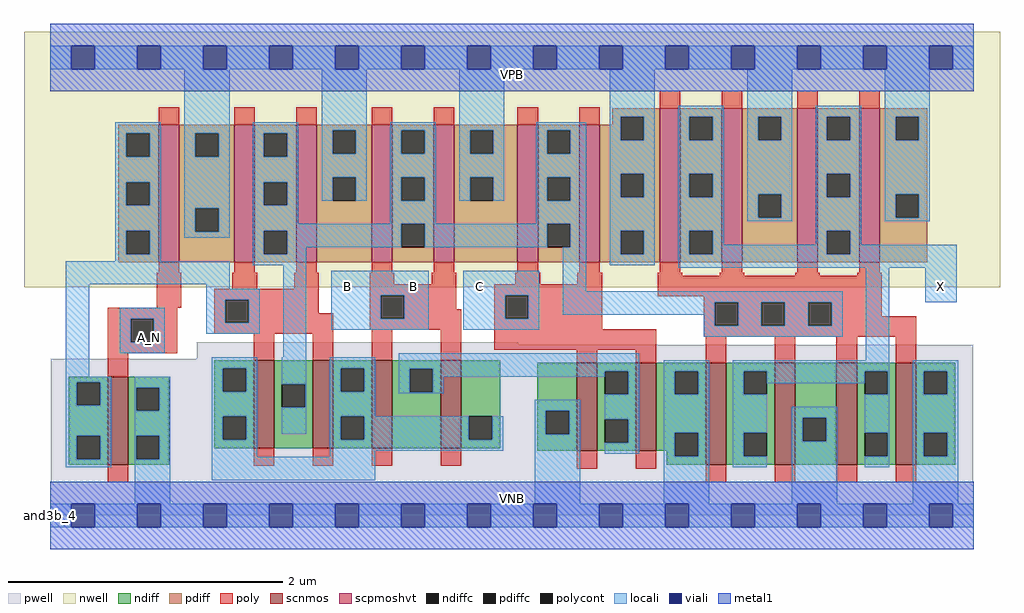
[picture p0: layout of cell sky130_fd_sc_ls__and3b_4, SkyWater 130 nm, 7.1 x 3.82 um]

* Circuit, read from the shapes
.subckt sky130_fd_sc_ls__and3b_4 A_N B C VGND VNB VPB VPWR X
XM1 VGND A_N n1 VNB sky130_fd_pr__nfet_01v8 w=0.64 l=0.15
XM2 n2 n1 n3 VNB sky130_fd_pr__nfet_01v8 w=0.64 l=0.15 m=2
XM3 n4 B n3 VNB sky130_fd_pr__nfet_01v8 w=0.64 l=0.15 m=2
XM4 n4 C VGND VNB sky130_fd_pr__nfet_01v8 w=0.64 l=0.15 m=2
XM5 X n2 VGND VNB sky130_fd_pr__nfet_01v8 w=0.74 l=0.15 m=4
XM6 VPWR A_N n1 VPB sky130_fd_pr__pfet_01v8_hvt w=1 l=0.15
XM7 n2 n1 VPWR VPB sky130_fd_pr__pfet_01v8_hvt w=1 l=0.15 m=2
XM8 n2 B VPWR VPB sky130_fd_pr__pfet_01v8_hvt w=1 l=0.15 m=2
XM9 n2 C VPWR VPB sky130_fd_pr__pfet_01v8_hvt w=1 l=0.15 m=2
XM10 X n2 VPWR VPB sky130_fd_pr__pfet_01v8_hvt w=1.12 l=0.15 m=4
.ends

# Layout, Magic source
magic
tech sky130A
magscale 1 2
<< nwell >>
rect -38 332 1382 704
<< pwell >>
rect 213 248 681 252
rect 213 228 1343 248
rect 1 49 1343 228
rect 0 0 1344 49
<< scnmos >>
rect 84 74 114 202
rect 296 98 326 226
rect 382 98 412 226
rect 468 98 498 226
rect 568 98 598 226
rect 766 94 796 222
rect 852 94 882 222
rect 954 74 984 222
rect 1054 74 1084 222
rect 1144 74 1174 222
rect 1230 74 1260 222
<< scpmoshvt >>
rect 158 368 188 568
rect 268 368 298 568
rect 358 368 388 568
rect 468 368 498 568
rect 558 368 588 568
rect 680 368 710 568
rect 770 368 800 568
rect 887 368 917 592
rect 977 368 1007 592
rect 1087 368 1117 592
rect 1177 368 1207 592
<< ndiff >>
rect 239 214 296 226
rect 27 194 84 202
rect 27 160 39 194
rect 73 160 84 194
rect 27 116 84 160
rect 27 82 39 116
rect 73 82 84 116
rect 27 74 84 82
rect 114 186 173 202
rect 114 152 125 186
rect 159 152 173 186
rect 114 116 173 152
rect 114 82 125 116
rect 159 82 173 116
rect 239 180 251 214
rect 285 180 296 214
rect 239 144 296 180
rect 239 110 251 144
rect 285 110 296 144
rect 239 98 296 110
rect 326 191 382 226
rect 326 157 337 191
rect 371 157 382 191
rect 326 98 382 157
rect 412 214 468 226
rect 412 180 423 214
rect 457 180 468 214
rect 412 144 468 180
rect 412 110 423 144
rect 457 110 468 144
rect 412 98 468 110
rect 498 213 568 226
rect 498 179 523 213
rect 557 179 568 213
rect 498 98 568 179
rect 598 144 655 226
rect 598 110 609 144
rect 643 110 655 144
rect 598 98 655 110
rect 709 152 766 222
rect 709 118 721 152
rect 755 118 766 152
rect 114 74 173 82
rect 709 94 766 118
rect 796 210 852 222
rect 796 176 807 210
rect 841 176 852 210
rect 796 140 852 176
rect 796 106 807 140
rect 841 106 852 140
rect 796 94 852 106
rect 882 210 954 222
rect 882 176 909 210
rect 943 176 954 210
rect 882 120 954 176
rect 882 94 909 120
rect 897 86 909 94
rect 943 86 954 120
rect 897 74 954 86
rect 984 210 1054 222
rect 984 176 1009 210
rect 1043 176 1054 210
rect 984 120 1054 176
rect 984 86 1009 120
rect 1043 86 1054 120
rect 984 74 1054 86
rect 1084 142 1144 222
rect 1084 108 1095 142
rect 1129 108 1144 142
rect 1084 74 1144 108
rect 1174 210 1230 222
rect 1174 176 1185 210
rect 1219 176 1230 210
rect 1174 120 1230 176
rect 1174 86 1185 120
rect 1219 86 1230 120
rect 1174 74 1230 86
rect 1260 210 1317 222
rect 1260 176 1271 210
rect 1305 176 1317 210
rect 1260 120 1317 176
rect 1260 86 1271 120
rect 1305 86 1317 120
rect 1260 74 1317 86
<< pdiff >>
rect 818 580 887 592
rect 818 568 830 580
rect 99 556 158 568
rect 99 522 111 556
rect 145 522 158 556
rect 99 485 158 522
rect 99 451 111 485
rect 145 451 158 485
rect 99 414 158 451
rect 99 380 111 414
rect 145 380 158 414
rect 99 368 158 380
rect 188 556 268 568
rect 188 522 211 556
rect 245 522 268 556
rect 188 447 268 522
rect 188 413 211 447
rect 245 413 268 447
rect 188 368 268 413
rect 298 556 358 568
rect 298 522 311 556
rect 345 522 358 556
rect 298 485 358 522
rect 298 451 311 485
rect 345 451 358 485
rect 298 414 358 451
rect 298 380 311 414
rect 345 380 358 414
rect 298 368 358 380
rect 388 560 468 568
rect 388 526 411 560
rect 445 526 468 560
rect 388 492 468 526
rect 388 458 411 492
rect 445 458 468 492
rect 388 368 468 458
rect 498 560 558 568
rect 498 526 511 560
rect 545 526 558 560
rect 498 492 558 526
rect 498 458 511 492
rect 545 458 558 492
rect 498 424 558 458
rect 498 390 511 424
rect 545 390 558 424
rect 498 368 558 390
rect 588 560 680 568
rect 588 526 611 560
rect 645 526 680 560
rect 588 492 680 526
rect 588 458 611 492
rect 645 458 680 492
rect 588 368 680 458
rect 710 560 770 568
rect 710 526 723 560
rect 757 526 770 560
rect 710 492 770 526
rect 710 458 723 492
rect 757 458 770 492
rect 710 424 770 458
rect 710 390 723 424
rect 757 390 770 424
rect 710 368 770 390
rect 800 546 830 568
rect 864 546 887 580
rect 800 497 887 546
rect 800 463 830 497
rect 864 463 887 497
rect 800 414 887 463
rect 800 380 830 414
rect 864 380 887 414
rect 800 368 887 380
rect 917 580 977 592
rect 917 546 930 580
rect 964 546 977 580
rect 917 497 977 546
rect 917 463 930 497
rect 964 463 977 497
rect 917 414 977 463
rect 917 380 930 414
rect 964 380 977 414
rect 917 368 977 380
rect 1007 580 1087 592
rect 1007 546 1030 580
rect 1064 546 1087 580
rect 1007 467 1087 546
rect 1007 433 1030 467
rect 1064 433 1087 467
rect 1007 368 1087 433
rect 1117 580 1177 592
rect 1117 546 1130 580
rect 1164 546 1177 580
rect 1117 497 1177 546
rect 1117 463 1130 497
rect 1164 463 1177 497
rect 1117 414 1177 463
rect 1117 380 1130 414
rect 1164 380 1177 414
rect 1117 368 1177 380
rect 1207 580 1276 592
rect 1207 546 1230 580
rect 1264 546 1276 580
rect 1207 467 1276 546
rect 1207 433 1230 467
rect 1264 433 1276 467
rect 1207 368 1276 433
<< ndiffc >>
rect 39 160 73 194
rect 39 82 73 116
rect 125 152 159 186
rect 125 82 159 116
rect 251 180 285 214
rect 251 110 285 144
rect 337 157 371 191
rect 423 180 457 214
rect 423 110 457 144
rect 523 179 557 213
rect 609 110 643 144
rect 721 118 755 152
rect 807 176 841 210
rect 807 106 841 140
rect 909 176 943 210
rect 909 86 943 120
rect 1009 176 1043 210
rect 1009 86 1043 120
rect 1095 108 1129 142
rect 1185 176 1219 210
rect 1185 86 1219 120
rect 1271 176 1305 210
rect 1271 86 1305 120
<< pdiffc >>
rect 111 522 145 556
rect 111 451 145 485
rect 111 380 145 414
rect 211 522 245 556
rect 211 413 245 447
rect 311 522 345 556
rect 311 451 345 485
rect 311 380 345 414
rect 411 526 445 560
rect 411 458 445 492
rect 511 526 545 560
rect 511 458 545 492
rect 511 390 545 424
rect 611 526 645 560
rect 611 458 645 492
rect 723 526 757 560
rect 723 458 757 492
rect 723 390 757 424
rect 830 546 864 580
rect 830 463 864 497
rect 830 380 864 414
rect 930 546 964 580
rect 930 463 964 497
rect 930 380 964 414
rect 1030 546 1064 580
rect 1030 433 1064 467
rect 1130 546 1164 580
rect 1130 463 1164 497
rect 1130 380 1164 414
rect 1230 546 1264 580
rect 1230 433 1264 467
<< poly >>
rect 158 568 188 594
rect 268 568 298 594
rect 358 568 388 594
rect 468 568 498 594
rect 558 568 588 594
rect 680 568 710 594
rect 770 568 800 594
rect 887 592 917 618
rect 977 592 1007 618
rect 1087 592 1117 618
rect 1177 592 1207 618
rect 158 353 188 368
rect 268 353 298 368
rect 358 353 388 368
rect 468 353 498 368
rect 558 353 588 368
rect 680 353 710 368
rect 770 353 800 368
rect 887 353 917 368
rect 977 353 1007 368
rect 1087 353 1117 368
rect 1177 353 1207 368
rect 155 302 191 353
rect 265 330 301 353
rect 355 330 391 353
rect 239 314 391 330
rect 84 286 185 302
rect 84 252 117 286
rect 151 252 185 286
rect 239 280 255 314
rect 289 294 391 314
rect 465 336 501 353
rect 555 336 591 353
rect 677 336 713 353
rect 767 336 803 353
rect 465 320 591 336
rect 289 280 412 294
rect 239 264 412 280
rect 465 286 481 320
rect 515 300 591 320
rect 646 320 803 336
rect 515 286 598 300
rect 465 270 598 286
rect 84 236 185 252
rect 84 202 114 236
rect 296 226 326 264
rect 382 226 412 264
rect 468 226 498 270
rect 568 226 598 270
rect 646 286 662 320
rect 696 286 803 320
rect 884 349 920 353
rect 974 349 1010 353
rect 1084 349 1120 353
rect 1174 349 1210 353
rect 884 319 1210 349
rect 646 271 803 286
rect 951 310 1210 319
rect 951 276 967 310
rect 1001 276 1035 310
rect 1069 276 1103 310
rect 1137 290 1210 310
rect 1137 276 1260 290
rect 646 241 882 271
rect 951 260 1260 276
rect 766 222 796 241
rect 852 222 882 241
rect 954 222 984 260
rect 1054 222 1084 260
rect 1144 222 1174 260
rect 1230 222 1260 260
rect 84 48 114 74
rect 296 72 326 98
rect 382 72 412 98
rect 468 72 498 98
rect 568 72 598 98
rect 766 68 796 94
rect 852 68 882 94
rect 954 48 984 74
rect 1054 48 1084 74
rect 1144 48 1174 74
rect 1230 48 1260 74
<< polycont >>
rect 117 252 151 286
rect 255 280 289 314
rect 481 286 515 320
rect 662 286 696 320
rect 967 276 1001 310
rect 1035 276 1069 310
rect 1103 276 1137 310
<< locali >>
rect 0 649 31 683
rect 65 649 127 683
rect 161 649 223 683
rect 257 649 319 683
rect 353 649 415 683
rect 449 649 511 683
rect 545 649 607 683
rect 641 649 703 683
rect 737 649 799 683
rect 833 649 895 683
rect 929 649 991 683
rect 1025 649 1087 683
rect 1121 649 1183 683
rect 1217 649 1279 683
rect 1313 649 1344 683
rect 95 556 161 572
rect 95 522 111 556
rect 145 522 161 556
rect 95 485 161 522
rect 95 451 111 485
rect 145 451 161 485
rect 95 414 161 451
rect 95 380 111 414
rect 145 380 161 414
rect 195 556 261 649
rect 195 522 211 556
rect 245 522 261 556
rect 195 447 261 522
rect 195 413 211 447
rect 245 413 261 447
rect 195 404 261 413
rect 295 556 361 572
rect 295 522 311 556
rect 345 522 361 556
rect 295 485 361 522
rect 295 451 311 485
rect 345 451 361 485
rect 395 560 461 649
rect 395 526 411 560
rect 445 526 461 560
rect 395 492 461 526
rect 395 458 411 492
rect 445 458 461 492
rect 495 560 561 572
rect 495 526 511 560
rect 545 526 561 560
rect 495 492 561 526
rect 495 458 511 492
rect 545 458 561 492
rect 595 560 661 649
rect 814 580 880 649
rect 595 526 611 560
rect 645 526 661 560
rect 595 492 661 526
rect 595 458 611 492
rect 645 458 661 492
rect 707 560 780 572
rect 707 526 723 560
rect 757 526 780 560
rect 707 492 780 526
rect 707 458 723 492
rect 757 458 780 492
rect 295 424 361 451
rect 495 424 561 458
rect 707 424 780 458
rect 295 414 511 424
rect 95 370 161 380
rect 295 380 311 414
rect 345 390 511 414
rect 545 390 723 424
rect 757 390 780 424
rect 345 380 373 390
rect 23 336 261 370
rect 295 364 373 380
rect 23 202 57 336
rect 227 330 261 336
rect 227 314 305 330
rect 101 286 167 302
rect 101 252 117 286
rect 151 252 167 286
rect 227 280 255 314
rect 289 280 305 314
rect 227 264 305 280
rect 101 236 167 252
rect 339 230 373 364
rect 409 320 551 356
rect 409 286 481 320
rect 515 286 551 320
rect 409 270 551 286
rect 601 320 712 356
rect 601 286 662 320
rect 696 286 712 320
rect 746 326 780 390
rect 814 546 830 580
rect 864 546 880 580
rect 814 497 880 546
rect 814 463 830 497
rect 864 463 880 497
rect 814 414 880 463
rect 814 380 830 414
rect 864 380 880 414
rect 814 364 880 380
rect 914 580 980 596
rect 914 546 930 580
rect 964 546 980 580
rect 914 497 980 546
rect 914 463 930 497
rect 964 463 980 497
rect 914 414 980 463
rect 1014 580 1080 649
rect 1014 546 1030 580
rect 1064 546 1080 580
rect 1014 467 1080 546
rect 1014 433 1030 467
rect 1064 433 1080 467
rect 1014 428 1080 433
rect 1114 580 1180 596
rect 1114 546 1130 580
rect 1164 546 1180 580
rect 1114 497 1180 546
rect 1114 463 1130 497
rect 1164 463 1180 497
rect 914 380 930 414
rect 964 394 980 414
rect 1114 414 1180 463
rect 1214 580 1280 649
rect 1214 546 1230 580
rect 1264 546 1280 580
rect 1214 467 1280 546
rect 1214 433 1230 467
rect 1264 433 1280 467
rect 1214 428 1280 433
rect 1114 394 1130 414
rect 964 380 1130 394
rect 1164 394 1180 414
rect 1164 380 1319 394
rect 914 360 1319 380
rect 746 310 1153 326
rect 746 292 967 310
rect 601 270 712 286
rect 951 276 967 292
rect 1001 276 1035 310
rect 1069 276 1103 310
rect 1137 276 1153 310
rect 951 260 1153 276
rect 235 214 301 230
rect 23 194 89 202
rect 23 160 39 194
rect 73 160 89 194
rect 23 116 89 160
rect 23 82 39 116
rect 73 82 89 116
rect 23 70 89 82
rect 123 186 175 202
rect 123 152 125 186
rect 159 152 175 186
rect 123 116 175 152
rect 123 82 125 116
rect 159 82 175 116
rect 123 17 175 82
rect 235 180 251 214
rect 285 180 301 214
rect 235 144 301 180
rect 235 110 251 144
rect 285 110 301 144
rect 337 191 373 230
rect 371 157 373 191
rect 337 119 373 157
rect 407 214 473 230
rect 407 180 423 214
rect 457 180 473 214
rect 407 144 473 180
rect 507 213 857 236
rect 1187 226 1221 360
rect 1273 310 1319 360
rect 507 179 523 213
rect 557 210 857 213
rect 557 202 807 210
rect 557 179 573 202
rect 507 178 573 179
rect 841 176 857 210
rect 705 152 771 168
rect 235 85 301 110
rect 407 110 423 144
rect 457 110 609 144
rect 643 110 659 144
rect 407 94 659 110
rect 705 118 721 152
rect 755 118 771 152
rect 407 85 473 94
rect 235 51 473 85
rect 705 17 771 118
rect 807 140 857 176
rect 841 106 857 140
rect 807 90 857 106
rect 893 210 959 226
rect 893 176 909 210
rect 943 176 959 210
rect 893 120 959 176
rect 893 86 909 120
rect 943 86 959 120
rect 893 17 959 86
rect 993 210 1221 226
rect 993 176 1009 210
rect 1043 192 1185 210
rect 993 120 1043 176
rect 1219 176 1221 210
rect 993 86 1009 120
rect 993 70 1043 86
rect 1079 142 1145 158
rect 1079 108 1095 142
rect 1129 108 1145 142
rect 1079 17 1145 108
rect 1185 120 1221 176
rect 1219 86 1221 120
rect 1185 70 1221 86
rect 1255 210 1321 226
rect 1255 176 1271 210
rect 1305 176 1321 210
rect 1255 120 1321 176
rect 1255 86 1271 120
rect 1305 86 1321 120
rect 1255 17 1321 86
rect 0 -17 31 17
rect 65 -17 127 17
rect 161 -17 223 17
rect 257 -17 319 17
rect 353 -17 415 17
rect 449 -17 511 17
rect 545 -17 607 17
rect 641 -17 703 17
rect 737 -17 799 17
rect 833 -17 895 17
rect 929 -17 991 17
rect 1025 -17 1087 17
rect 1121 -17 1183 17
rect 1217 -17 1279 17
rect 1313 -17 1344 17
<< viali >>
rect 31 649 65 683
rect 127 649 161 683
rect 223 649 257 683
rect 319 649 353 683
rect 415 649 449 683
rect 511 649 545 683
rect 607 649 641 683
rect 703 649 737 683
rect 799 649 833 683
rect 895 649 929 683
rect 991 649 1025 683
rect 1087 649 1121 683
rect 1183 649 1217 683
rect 1279 649 1313 683
rect 31 -17 65 17
rect 127 -17 161 17
rect 223 -17 257 17
rect 319 -17 353 17
rect 415 -17 449 17
rect 511 -17 545 17
rect 607 -17 641 17
rect 703 -17 737 17
rect 799 -17 833 17
rect 895 -17 929 17
rect 991 -17 1025 17
rect 1087 -17 1121 17
rect 1183 -17 1217 17
rect 1279 -17 1313 17
<< metal1 >>
rect 0 683 1344 715
rect 0 649 31 683
rect 65 649 127 683
rect 161 649 223 683
rect 257 649 319 683
rect 353 649 415 683
rect 449 649 511 683
rect 545 649 607 683
rect 641 649 703 683
rect 737 649 799 683
rect 833 649 895 683
rect 929 649 991 683
rect 1025 649 1087 683
rect 1121 649 1183 683
rect 1217 649 1279 683
rect 1313 649 1344 683
rect 0 617 1344 649
rect 0 17 1344 49
rect 0 -17 31 17
rect 65 -17 127 17
rect 161 -17 223 17
rect 257 -17 319 17
rect 353 -17 415 17
rect 449 -17 511 17
rect 545 -17 607 17
rect 641 -17 703 17
rect 737 -17 799 17
rect 833 -17 895 17
rect 929 -17 991 17
rect 1025 -17 1087 17
rect 1121 -17 1183 17
rect 1217 -17 1279 17
rect 1313 -17 1344 17
rect 0 -49 1344 -17
<< labels >>
rlabel comment s 0 0 0 0 4 and3b_4
flabel pwell s 0 0 1344 49 0 FreeSans 200 0 0 0 VNB
port 5 nsew ground bidirectional
flabel nwell s 0 617 1344 666 0 FreeSans 200 0 0 0 VPB
port 6 nsew power bidirectional
flabel metal1 s 0 617 1344 666 0 FreeSans 340 0 0 0 VPWR
port 7 nsew power bidirectional abutment
flabel metal1 s 0 0 1344 49 0 FreeSans 340 0 0 0 VGND
port 4 nsew ground bidirectional abutment
flabel locali s 1279 316 1313 350 0 FreeSans 340 0 0 0 X
port 8 nsew signal output
flabel locali s 415 316 449 350 0 FreeSans 340 0 0 0 B
port 2 nsew signal input
flabel locali s 511 316 545 350 0 FreeSans 340 0 0 0 B
port 2 nsew signal input
flabel locali s 607 316 641 350 0 FreeSans 340 0 0 0 C
port 3 nsew signal input
flabel locali s 127 242 161 276 0 FreeSans 340 0 0 0 A_N
port 1 nsew signal input
<< properties >>
string LEFsite unit
string LEFclass CORE
string FIXED_BBOX 0 0 1344 666
string GDS_FILE $PDKPATH/libs.ref/sky130_fd_sc_ls/gds/sky130_fd_sc_ls.gds
string LEFsymmetry X Y
string GDS_END 3293246
string GDS_START 3282552
<< end >>
